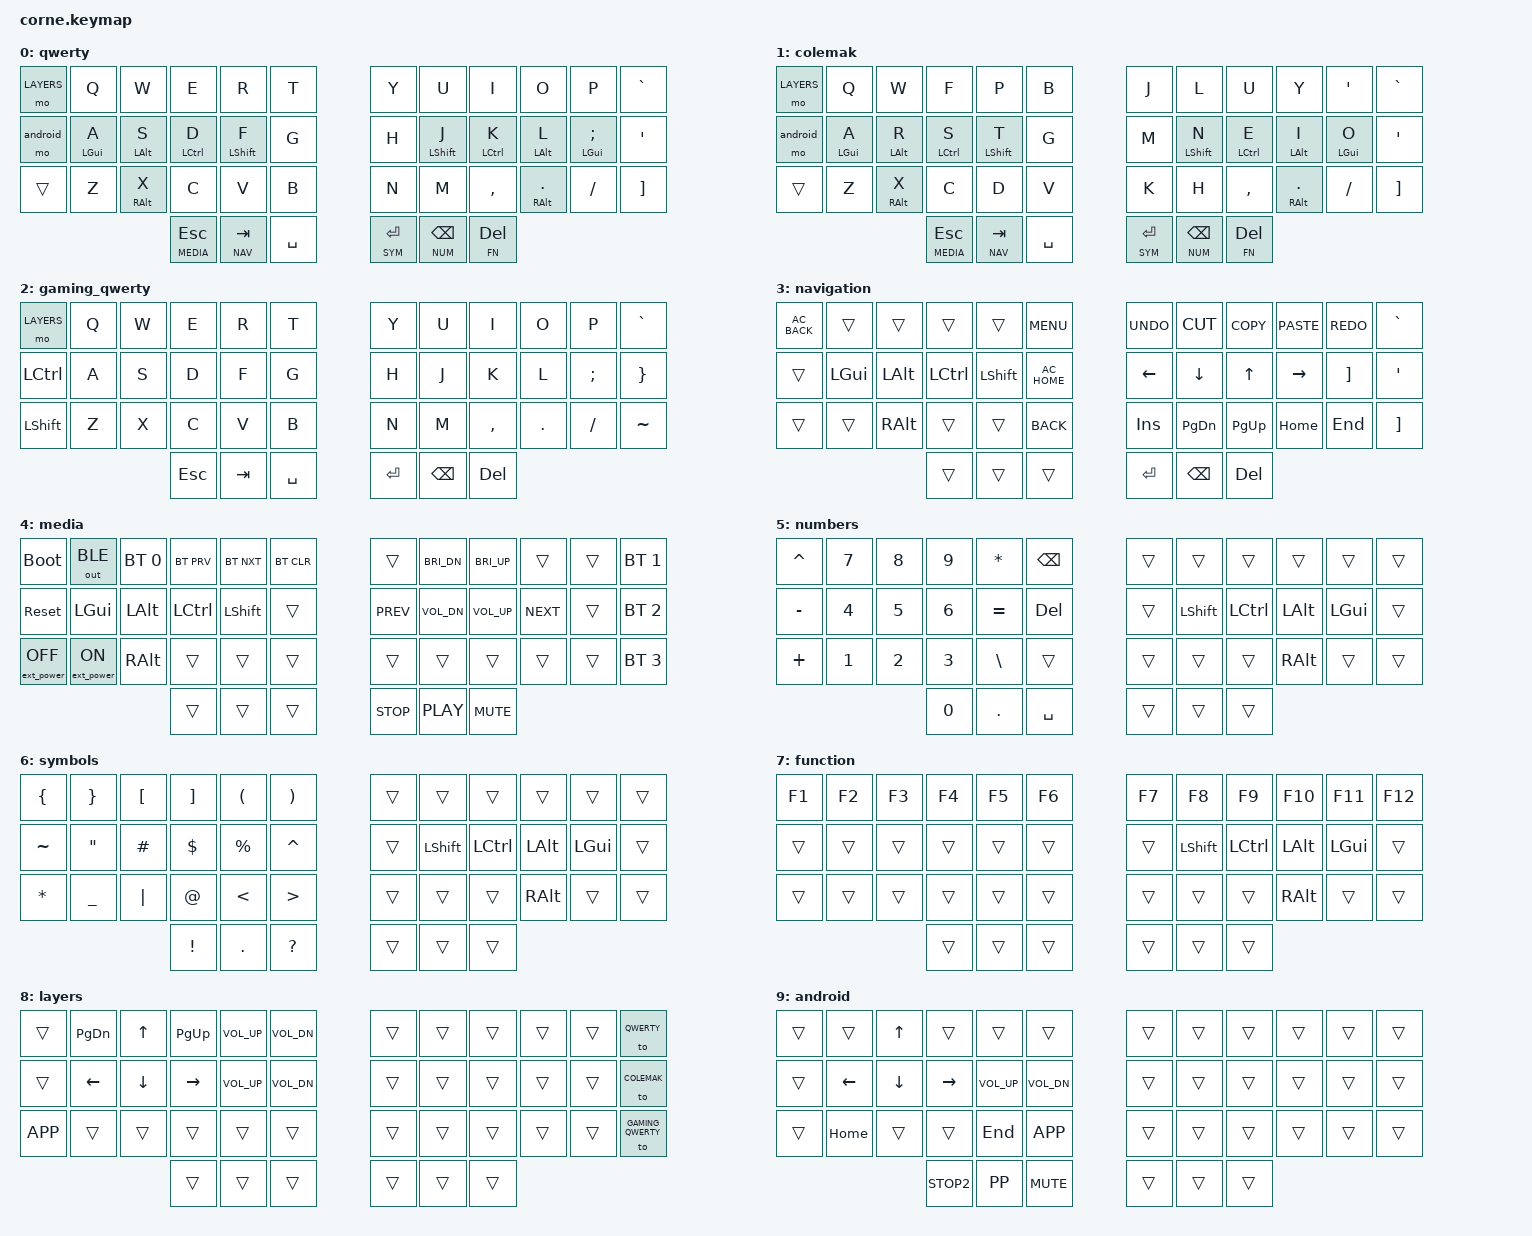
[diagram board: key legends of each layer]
#include <behaviors.dtsi>
#include <dt-bindings/zmk/keys.h>
#include <dt-bindings/zmk/bt.h>
#include <dt-bindings/zmk/ext_power.h>
#include <dt-bindings/zmk/outputs.h>

// Layer Definitions
#define COLEMAK 1
#define QWERTY 0
#define GAMING_QWERTY 2
#define LAYERS 8
#define NAV 3
#define MEDIA 4
#define NUM 5
#define SYM 6
#define FN 7
#define android 9

// Behavior configuration
&mt {
    tapping-term-ms = <280>;
    flavor = "balanced";
    quick-tap-ms = <175>;
    flavor = "balanced";
    require-prior-idle-ms = <150>;
    hold-trigger-on-release;
};
&lt {
    tapping-term-ms = <280>;
    flavor = "balanced";
    quick-tap-ms = <175>;
    flavor = "balanced";
    require-prior-idle-ms = <150>;
    hold-trigger-on-release;
};
&sk {
    release-after-ms = <500>;
    quick-release;
};

// Keymap configuration (Colemak-DHm)
/ {
    keymap {
        compatible = "zmk,keymap";
        qwerty {
                // -----------------------------------------------------------------------------------------------------------------------------
                // | LAYERS |   Q    |   W    |     E     |     R     |     T     | # |     Y     |     U    |    I    |    O   |   P    |     |
                // |        | A/LGUI | S/LALT |  D/LCTRL  |  F/LSHFT  |     G     | # |     H     | J/LSHFT  | K/LCTRR | L/LALT | ;/LGUI |     |
                // |        |   Z    | X/RALT |     C     |     V     |     B     | # |     N     |     M    |    ,    | ./RALT |   /    |     |
                //                            | ESC/MEDIA |  TAB/NAV  |   SPACE   | # | ENTER/SYM | BSPC/NUM | DEL/FN  |

                bindings = <
                    &mo LAYERS    &kp Q         &kp W         &kp E            &kp R          &kp T            &kp Y            &kp U           &kp I          &kp O           &kp P            &kp GRAVE
                    &mo android   &mt LGUI A    &mt LALT S    &mt LCTRL D      &mt LSHFT F    &kp G            &kp H            &mt LSHFT J     &mt LCTRL K    &mt LALT L      &mt LGUI SEMI    &kp APOS
                    &trans        &kp Z         &mt RALT X    &kp C            &kp V          &kp B            &kp N            &kp M           &kp COMMA      &mt RALT DOT    &kp FSLH         &kp RBKT
                                                              &lt MEDIA ESC    &lt NAV TAB    &kp SPACE        &lt SYM ENTER    &lt NUM BSPC    &lt FN DEL
            >;
        };
		colemak {
                // -----------------------------------------------------------------------------------------------------------------------------
                // | LAYERS |   Q    |   W    |     F     |     P     |     B     | # |     J     |    L     |    U    |    Y   |   '    |     |
                // |        | A/LGUI | R/LALT |  S/LCTRL  |  T/LSHFT  |     G     | # |     M     | N/LSHFT  | E/LCTRL | I/LALT | O/LGUI |     |
                // |        |   Z    | X/RALT |     C     |     D     |     V     | # |     K     |    H     |    ,    | ./RALT |   /    |     |
                //                            | ESC/MEDIA |  TAB/NAV  |   SPACE   | # | ENTER/SYM | BSPC/NUM | DEL/FN  |

                bindings = <
                    &mo LAYERS     &kp Q         &kp W         &kp F            &kp P          &kp B            &kp J            &kp L           &kp U          &kp Y           &kp SQT       &kp GRAVE
                    &mo android    &mt LGUI A    &mt LALT R    &mt LCTRL S      &mt LSHFT T    &kp G            &kp M            &mt LSHFT N     &mt LCTRL E    &mt LALT I      &mt LGUI O    &kp APOS
                    &trans         &kp Z         &mt RALT X    &kp C            &kp D          &kp V            &kp K            &kp H           &kp COMMA      &mt RALT DOT    &kp FSLH      &kp RBKT
                                                               &lt MEDIA ESC    &lt NAV TAB    &kp SPACE        &lt SYM ENTER    &lt NUM BSPC    &lt FN DEL
            >;
        };
        gaming_qwerty {
                // ----------------------------------------------------------------------------------------------------
                // | LAYERS |   Q   |   W   |   E   |   R   |   T   | # |   Y   |   U   |   I   |   O   |   P   |     |
                // | CTRL   |   A   |   S   |   D   |   F   |   G   | # |   H   |   J   |   K   |   L   |   ;   |     |
                // | SHIFT  |   Z   |   X   |   C   |   V   |   B   | # |   N   |   M   |   ,   |   .   |   /   |     |
                //                          |  ESC  | SPACE |  TAB  | # | ENTER | BSPC  |  DEL  |

                bindings = <
                    &mo LAYERS    &kp Q    &kp W    &kp E      &kp R      &kp T            &kp Y        &kp U       &kp I        &kp O      &kp P       &kp GRAVE
                    &kp LCTRL     &kp A    &kp S    &kp D      &kp F      &kp G            &kp H        &kp J       &kp K        &kp L      &kp SEMI    &kp RBRC
                    &kp LSHIFT    &kp Z    &kp X    &kp C      &kp V      &kp B            &kp N        &kp M       &kp COMMA    &kp DOT    &kp FSLH    &kp TILDE
                                                    &kp ESC    &kp TAB    &kp SPACE        &kp ENTER    &kp BSPC    &kp DEL
            >;
        };
	    navigation {
                // -------------------------------------------------------------------------------------------
                // |     |      |      |       |       |     | # | UNDO  | CUT  | COPY | PASTE | REDO  |  `  |
                // |     | LGUI | LALT | LCTRL | LSHFT |     | # | LEFT  | DOWN | UP   | RIGHT |   {   |  }  |
                // |     |      | RALT |       |       |     | # | INS   | HOME | PGDN | PGUP  | END   |  ~  |
                //                     |       | HELD  |     | # | ENTER | BSPC | DEL  |

                bindings = <
                    &kp C_AC_BACK    &trans      &trans      &trans       &trans       &kp C_MENU       &kp K_UNDO    &kp K_CUT    &kp K_COPY    &kp K_PASTE    &kp K_REDO    &kp GRAVE
                    &trans           &kp LGUI    &kp LALT    &kp LCTRL    &kp LSHFT    &kp C_AC_HOME    &kp LEFT      &kp DOWN     &kp UP        &kp RIGHT      &kp RBKT      &kp APOS
                    &trans           &trans      &kp RALT    &trans       &trans       &kp K_BACK       &kp INS       &kp PG_DN    &kp PG_UP     &kp HOME       &kp END       &kp RBKT
                                                             &trans       &trans       &trans           &kp ENTER     &kp BSPC     &kp DEL
            >;
        };
        media {
                // --------------------------------------------------------------------------------------------------------
                // | BOOTLOAD | OUT_BLE | BT_0 | BT_PRV | BT_NXT | BT_CLR | # |      | BR_D  | BR_U  |      |      | BT_1 |
                // | RESET    | LGUI    | LALT | LCTRL  | LSHFT  |        | # | PREV | VOL_D | VOL_U | NEXT |      | BT_2 |
                // | EP_OFF   | EP_ON   | RALT |        |        |        | # |      |       |       |      |      | BT_3 |
                //                             |  HELD  |        |        | # | STOP | PLAY  | MUTE  |     

                bindings = <
                    &bootloader          &out OUT_BLE        &bt BT_SEL 0    &bt BT_PRV    &bt BT_NXT    &bt BT_CLR        &trans        &kp C_BRI_DN    &kp C_BRI_UP    &trans        &trans    &bt BT_SEL 1  
                    &sys_reset           &kp LGUI            &kp LALT        &kp LCTRL     &kp LSHFT     &trans            &kp C_PREV    &kp C_VOL_DN    &kp C_VOL_UP    &kp C_NEXT    &trans    &bt BT_SEL 2  
                    &ext_power EP_OFF    &ext_power EP_ON    &kp RALT        &trans        &trans        &trans            &trans        &trans          &trans          &trans        &trans    &bt BT_SEL 3  
                                                                             &trans        &trans        &trans            &kp C_STOP    &kp C_PLAY      &kp C_MUTE
            >;
        };
        numbers {
                // -----------------------------------------------------------------------------------
                // |  ^  |  7  |  8  |  9  |  *  |  BSPC | # |     |       |       |      |      |     |
                // |  -  |  4  |  5  |  6  |  =  |  DEL  | # |     | LSHFT | LCTRL | LALT | LGUI |     |
                // |  +  |  1  |  2  |  3  |  \  |       | # |     |       |       | RALT |      |     |
                //                   |  0  |  .  |  SPC  | # |     | HELD  |       |

                bindings = <
                    &kp CARET    &kp N7    &kp N8    &kp N9    &kp ASTRK    &kp BSPC         &trans    &trans       &trans       &trans      &trans      &trans
                    &kp MINUS    &kp N4    &kp N5    &kp N6    &kp EQUAL    &kp DEL          &trans    &kp LSHFT    &kp LCTRL    &kp LALT    &kp LGUI    &trans
                    &kp PLUS     &kp N1    &kp N2    &kp N3    &kp BSLH     &trans           &trans    &trans       &trans       &kp RALT    &trans      &trans
                                                     &kp N0    &kp DOT      &kp SPACE        &trans    &trans       &trans
            >;
        };
        symbols {
                // ------------------------------------------------------------------------------------
                // |  {  |  }  |  [  |  ]  |  (  |  )  | # |      |       |       |      |      |     |
                // |  ~  |  :  |  #  |  $  |  %  |  ^  | # |      | LSHFT | LCTRL | LALT | LGUI |     |
                // |  *  |  _  |  |  |  @  |  <  |  >  | # |      |       |       | RALT |      |     |
                //                   |  !  |  ?  |  .  | # | HELD |       |       |

                bindings = <
                    &kp LBRC     &kp RBRC     &kp LBKT    &kp RBKT    &kp LPAR     &kp RPAR         &trans    &trans       &trans       &trans      &trans      &trans
                    &kp TILDE    &kp DQT      &kp HASH    &kp DLLR    &kp PRCNT    &kp CARET        &trans    &kp LSHFT    &kp LCTRL    &kp LALT    &kp LGUI    &trans
                    &kp ASTRK    &kp UNDER    &kp PIPE    &kp AT      &kp LT       &kp GT           &trans    &trans       &trans       &kp RALT    &trans      &trans
                                                          &kp EXCL    &kp DOT      &kp QMARK        &trans    &trans       &trans
            >;
        };
        function {
                // ------------------------------------------------------------------------------------------
                // |  F1 |  F2  |  F3  |  F4  |  F5  |  F6  | # |  F7  |   F8  |   F9  | F10  | F11  |  F12 |
                // |     |      |      |      |      |      | # |      | LSHFT | LCTRL | LALT | LGUI |      |
                // |     |      |      |      |      |      | # |      |       |       | RALT |      |      |
                //                     |      |      |      | # |      |       | HELD  |

                bindings = <
                    &kp F1    &kp F2    &kp F3    &kp F4    &kp F5    &kp F6        &kp F7    &kp F8       &kp F9       &kp F10     &kp F11     &kp F12
                    &trans    &trans    &trans    &trans    &trans    &trans        &trans    &kp LSHFT    &kp LCTRL    &kp LALT    &kp LGUI    &trans
                    &trans    &trans    &trans    &trans    &trans    &trans        &trans    &trans       &trans       &kp RALT    &trans      &trans
                                                  &trans    &trans    &trans        &trans    &trans       &trans
            >;
        };
        layers {
                // ---------------------------------------------------------------------------------------------
                // | HELD |     |     |     |     |     | # |     |     |         |                |     |     |
                // |      |     |     |     |     |     | # |     |     | COLEMAK |                |     |     |
                // |      |     |     |     |     |     | # |     |     | QWERTY  | GAMING_QWERTY  |     |     |
                //                    |     |     |     | # |     |     |         |

                bindings = <
                    &trans       &kp PG_DN    &kp UP      &kp PG_UP    &kp C_VOL_UP     &kp C_VOL_DN         &trans    &trans    &trans    &trans    &trans    &to QWERTY
                    &trans      &kp LEFT     &kp DOWN    &kp RIGHT    &kp K_VOL_UP     &kp K_VOL_DN         &trans    &trans    &trans    &trans    &trans    &to COLEMAK
                    &kp K_APP    &trans       &trans      &trans       &trans    &trans        &trans    &trans    &trans    &trans    &trans    &to GAMING_QWERTY
                                                            &trans         &trans    &trans        &trans    &trans    &trans
            >;
        };  
		android {
                bindings = <
                    &trans    &trans      &kp UP      &trans         &trans          &trans              &trans    &trans    &trans    &trans    &trans    &trans
                    &trans    &kp LEFT    &kp DOWN    &kp RIGHT      &kp K_VOL_UP    &kp K_VOL_DN        &trans    &trans    &trans    &trans    &trans    &trans
                    &trans    &kp HOME    &trans      &trans         &kp END         &kp K_APP           &trans    &trans    &trans    &trans    &trans    &trans
                                                      &kp K_STOP2    &kp K_PP        &kp K_MUTE          &trans    &trans    &trans
            >;
        };
    };
};
